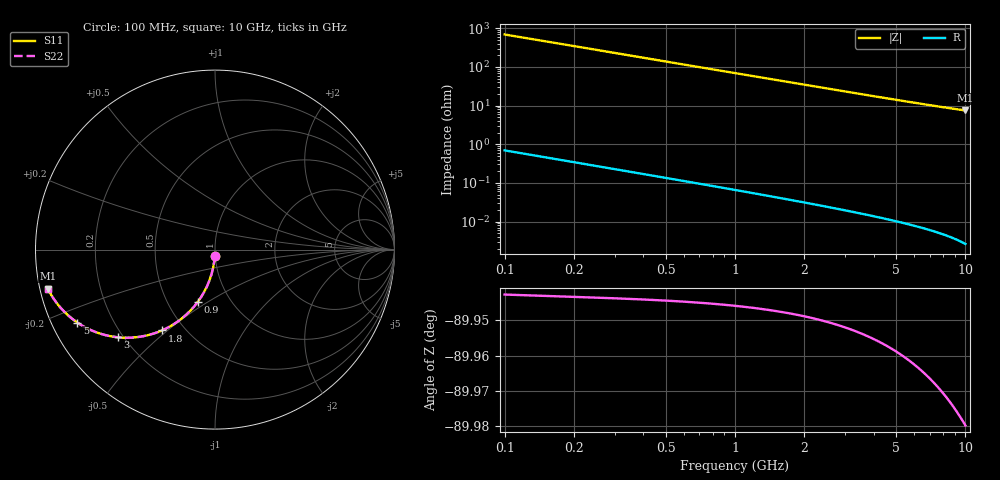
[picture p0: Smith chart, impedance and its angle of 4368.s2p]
# Hz S RI R 50.00
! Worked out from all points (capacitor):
!   100 points, 100 MHz to 10 GHz, reference 50 ohm
!   read as one part in shunt: C = 2.29 pF near 100 MHz
!   lowest |Z| = 7.5 ohm at 10 GHz (marker M1)
!   S11 on the Smith chart (normalised r, x): 100 MHz: 1.00, -0.07; 900 MHz: 0.71, -0.45; 1.8 GHz: 0.38, -0.48; 3 GHz: 0.18, -0.37; 5 GHz: 0.08, -0.25; 10 GHz: 0.02, -0.11
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1e8  -0.00114 -0.0356  0.9985 -0.0363  0.9985 -0.0363  -0.00114 -0.0356
2e8  -0.00504 -0.071  0.9946 -0.0722  0.9946 -0.0722  -0.00504 -0.071
3e8  -0.0114 -0.1058  0.9882 -0.1077  0.9882 -0.1077  -0.0114 -0.1058
4e8  -0.0203 -0.1398  0.9793 -0.1423  0.9793 -0.1423  -0.0203 -0.1398
5e8  -0.0314 -0.1728  0.9682 -0.1758  0.9682 -0.1758  -0.0314 -0.1728
6e8  -0.0446 -0.2045  0.955 -0.2082  0.955 -0.2082  -0.0446 -0.2045
7e8  -0.0597 -0.2347  0.9399 -0.239  0.9399 -0.239  -0.0597 -0.2347
9e8  -0.0951 -0.2904  0.9045 -0.2959  0.9045 -0.2959  -0.0951 -0.2904
1.1e9  -0.1357 -0.3388  0.8639 -0.3456  0.8639 -0.3456  -0.1357 -0.3388
1.3e9  -0.1799 -0.3798  0.8197 -0.3878  0.8197 -0.3878  -0.1799 -0.3798
1.5e9  -0.2261 -0.4133  0.7735 -0.4225  0.7735 -0.4225  -0.2261 -0.4133
1.8e9  -0.2962 -0.4506  0.7033 -0.4617  0.7033 -0.4617  -0.2962 -0.4506
2.3e9  -0.4075 -0.4838  0.592 -0.498  0.592 -0.498  -0.4075 -0.4838
3e9  -0.5397 -0.4886  0.4597 -0.5071  0.4597 -0.5071  -0.5397 -0.4886
3.4e9  -0.6013 -0.4785  0.3981 -0.4995  0.3981 -0.4995  -0.6013 -0.4785
4.2e9  -0.6978 -0.4455  0.3014 -0.4715  0.3014 -0.4715  -0.6978 -0.4455
5e9  -0.7667 -0.4065  0.2324 -0.4376  0.2324 -0.4376  -0.7667 -0.4065
5.1e9  -0.7738 -0.4016  0.2252 -0.4334  0.2252 -0.4334  -0.7738 -0.4016
5.9e9  -0.8215 -0.3634  0.1774 -0.4003  0.1774 -0.4003  -0.8215 -0.3634
6.7e9  -0.8565 -0.3283  0.1422 -0.3704  0.1422 -0.3704  -0.8565 -0.3283
8.4e9  -0.9048 -0.2649  0.0933 -0.3183  0.0933 -0.3183  -0.9048 -0.2649
1e10  -0.9316 -0.2172  0.0658 -0.2817  0.0658 -0.2817  -0.9316 -0.2172
